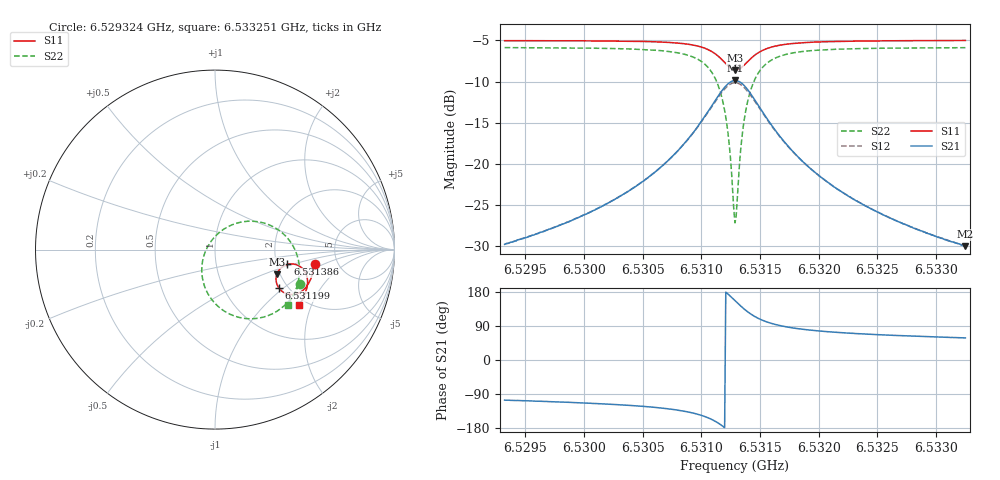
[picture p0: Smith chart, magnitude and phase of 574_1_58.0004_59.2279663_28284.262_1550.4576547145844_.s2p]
#  HZ  S  RI  R  50.00
! Rohde & Schwarz Vector Network Analyzer
! Rohde-Schwarz,ZNB20-2Port,1311601062101988,3.16
! Created: UTC 3/21/2024, 1:16:02 AM
! freq[Hz]  re:S11  im:S11  re:S21  im:S21  re:S12  im:S12  re:S22  im:S22
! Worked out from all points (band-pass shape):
!   401 points, 6.529324 GHz to 6.533251 GHz, reference 50 ohm
!   highest |S21| = -9.86 dB at 6.531288 GHz (marker M1); lowest = -30.0 dB at 6.533251 GHz (marker M2)
!   |S21| within 3 dB of the highest: 6.531093 GHz to 6.531485 GHz (392.3 kHz wide, 0.00601 % of centre)
!   lowest |S11| = -8.6 dB at 6.531288 GHz (marker M3), VSWR 2.18, Z = 96 - j30.9 ohm
!   |S11| at or under -10 dB: nowhere
!   |S22| runs from -27.2 to -5.9 dB; largest |S21 - S12| = 0.013
!   S11 on the Smith chart (normalised r, x): 6.529324 GHz: 3.35, -0.80; 6.531199 GHz: 1.80, -0.92; 6.531386 GHz: 2.29, -0.45; 6.533251 GHz: 1.82, -1.64
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6.529324e9  0.5547 -0.0817  -0.0088 -0.0312  -0.00947 -0.0312  0.4714 -0.1917
6.5299818e9  0.5425 -0.1369  -0.0191 -0.0443  -0.0201 -0.0439  0.438 -0.2526
6.5303647e9  0.5291 -0.1729  -0.033 -0.0586  -0.0345 -0.0578  0.4013 -0.2979
6.5306396e9  0.5119 -0.2032  -0.0551 -0.0755  -0.0572 -0.0738  0.3515 -0.3392
6.5308654e9  0.4832 -0.2323  -0.097 -0.0946  -0.0998 -0.0911  0.2676 -0.3766
6.5310323e9  0.4374 -0.2501  -0.1683 -0.0994  -0.1704 -0.0924  0.1372 -0.3786
6.5311305e9  0.3909 -0.2427  -0.24 -0.07  -0.2385 -0.0599  0.0176 -0.3167
6.5311992e9  0.355 -0.2127  -0.2918 -0.00756  -0.285 0.00255  -0.0587 -0.2029
6.5312286e9  0.3444 -0.1911  -0.3051 0.0329  -0.2958 0.0418  -0.073 -0.1336
6.5312679e9  0.3406 -0.1565  -0.3048 0.0953  -0.2931 0.1005  -0.0613 -0.0316
6.5312875e9  0.3442 -0.1386  -0.2953 0.1266  -0.2831 0.1296  -0.0402 0.0176
6.5312974e9  0.3476 -0.1302  -0.288 0.1413  -0.2762 0.1433  -0.0263 0.0403
6.5313072e9  0.3517 -0.122  -0.2797 0.1552  -0.2679 0.1562  -0.00988 0.0615
6.5313464e9  0.3749 -0.096  -0.235 0.1997  -0.2253 0.1973  0.0701 0.1262
6.5313857e9  0.4038 -0.0824  -0.1834 0.2226  -0.1763 0.2187  0.1591 0.1556
6.5314544e9  0.4494 -0.0831  -0.1041 0.2228  -0.1007 0.2192  0.2911 0.1418
6.5315526e9  0.4885 -0.1068  -0.0372 0.1884  -0.0355 0.1863  0.3993 0.0693
6.5316999e9  0.5105 -0.1443  0.00252 0.1383  0.00378 0.1376  0.457 -0.0308
6.5319453e9  0.5154 -0.1885  0.0185 0.0899  0.0197 0.0896  0.4704 -0.1312
6.5322398e9  0.5088 -0.2247  0.0208 0.0613  0.0217 0.061  0.4591 -0.1975
6.5326031e9  0.4964 -0.2586  0.0195 0.0428  0.0203 0.0427  0.44 -0.2479
6.533251e9  0.4707 -0.3077  0.0167 0.0269  0.0172 0.0265  0.4053 -0.3067
